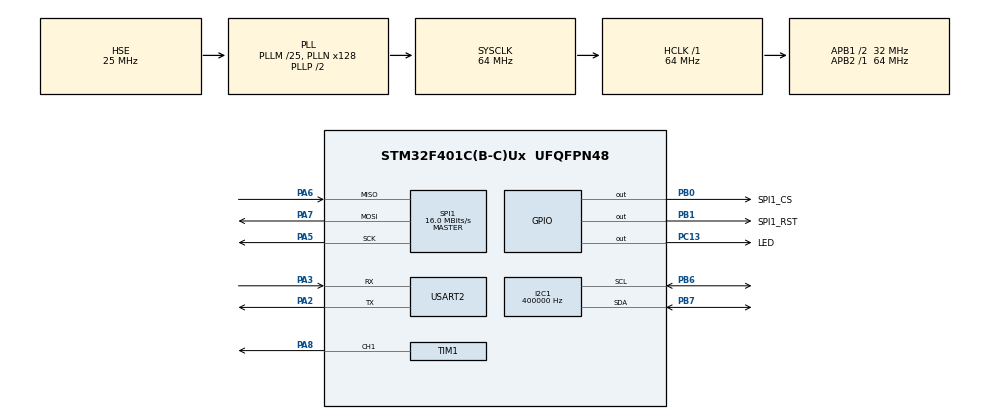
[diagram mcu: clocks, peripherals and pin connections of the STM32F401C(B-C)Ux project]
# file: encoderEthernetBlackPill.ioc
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Dma.Request0=TIM1_CH1
Dma.TIM1_CH1.0.Direction=DMA_MEMORY_TO_PERIPH
Dma.TIM1_CH1.0.FIFOMode=DMA_FIFOMODE_DISABLE
Dma.TIM1_CH1.0.Instance=DMA2_Stream1
Dma.TIM1_CH1.0.MemDataAlignment=DMA_MDATAALIGN_HALFWORD
Dma.TIM1_CH1.0.MemInc=DMA_MINC_ENABLE
Dma.TIM1_CH1.0.Mode=DMA_NORMAL
Dma.TIM1_CH1.0.PeriphDataAlignment=DMA_PDATAALIGN_HALFWORD
Dma.TIM1_CH1.0.PeriphInc=DMA_PINC_DISABLE
Dma.TIM1_CH1.0.Priority=DMA_PRIORITY_HIGH
I2C1.ClockSpeed=400000
I2C1.I2C_Mode=I2C_Fast
Mcu.Family=STM32F4
Mcu.Name=STM32F401C(B-C)Ux
Mcu.Package=UFQFPN48
NVIC.DMA2_Stream1_IRQn=true\:0\:0\:false\:false\:true\:false\:true
NVIC.PriorityGroup=NVIC_PRIORITYGROUP_4
NVIC.TIM1_UP_TIM10_IRQn=true\:0\:0\:false\:false\:true\:true\:true
NVIC.USART2_IRQn=true\:0\:0\:false\:false\:true\:true\:true
PA13.Mode=Serial_Wire
PA13.Signal=SYS_JTMS-SWDIO
PA14.Mode=Serial_Wire
PA14.Signal=SYS_JTCK-SWCLK
PA2.Mode=Asynchronous
PA2.Signal=USART2_TX
PA3.Mode=Asynchronous
PA3.Signal=USART2_RX
PA5.Mode=Full_Duplex_Master
PA5.Signal=SPI1_SCK
PA6.Mode=Full_Duplex_Master
PA6.Signal=SPI1_MISO
PA7.Mode=Full_Duplex_Master
PA7.Signal=SPI1_MOSI
PA8.Signal=S_TIM1_CH1
PB0.GPIO_Label=SPI1_CS
PB0.Signal=GPIO_Output
PB1.GPIO_Label=SPI1_RST
PB1.Signal=GPIO_Output
PB6.Mode=I2C
PB6.Signal=I2C1_SCL
PB7.Mode=I2C
PB7.Signal=I2C1_SDA
PC13-ANTI_TAMP.GPIO_Label=LED
PC13-ANTI_TAMP.Signal=GPIO_Output
PC14-OSC32_IN.Mode=LSE-External-Oscillator
PC14-OSC32_IN.Signal=RCC_OSC32_IN
PC15-OSC32_OUT.Mode=LSE-External-Oscillator
PC15-OSC32_OUT.Signal=RCC_OSC32_OUT
PH0\ -\ OSC_IN.Mode=HSE-External-Oscillator
PH0\ -\ OSC_IN.Signal=RCC_OSC_IN
PH1\ -\ OSC_OUT.Mode=HSE-External-Oscillator
PH1\ -\ OSC_OUT.Signal=RCC_OSC_OUT
ProjectManager.HeapSize=0x200
ProjectManager.StackSize=0x400
ProjectManager.TargetToolchain=STM32CubeIDE
RCC.48MHZClocksFreq_Value=32000000
RCC.AHBFreq_Value=64000000
RCC.APB1CLKDivider=RCC_HCLK_DIV2
RCC.APB1Freq_Value=32000000
RCC.APB1TimFreq_Value=64000000
RCC.APB2Freq_Value=64000000
RCC.APB2TimFreq_Value=64000000
RCC.CortexFreq_Value=64000000
RCC.HCLKFreq_Value=64000000
RCC.HSE_VALUE=25000000
RCC.HSI_VALUE=16000000
RCC.PLLM=25
RCC.PLLN=128
RCC.PLLSourceVirtual=RCC_PLLSOURCE_HSE
RCC.SYSCLKFreq_VALUE=64000000
RCC.SYSCLKSource=RCC_SYSCLKSOURCE_PLLCLK
RCC.VCOOutputFreq_Value=128000000
SH.S_TIM1_CH1.0=TIM1_CH1,PWM Generation1 CH1
SPI1.BaudRatePrescaler=SPI_BAUDRATEPRESCALER_4
SPI1.CalculateBaudRate=16.0 MBits/s
SPI1.Direction=SPI_DIRECTION_2LINES
SPI1.Mode=SPI_MODE_MASTER
SPI1.VirtualType=VM_MASTER
TIM1.Channel-PWM\ Generation1\ CH1=TIM_CHANNEL_1
TIM1.Period=89
TIM10.Period=100
TIM10.Prescaler=1000
USART2.VirtualMode=VM_ASYNC
VP_TIM10_VS_ClockSourceINT.Mode=Enable_Timer
board=custom

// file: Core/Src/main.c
/* USER CODE BEGIN Header */
/**
 ******************************************************************************
 * @file           : main.c
 * @brief          : Main program body
 ******************************************************************************
 * @attention
 *
 * <h2><center>&copy; Copyright (c) 2020 STMicroelectronics.
 * All rights reserved.</center></h2>
 *
 * This software component is licensed by ST under BSD 3-Clause license,
 * the "License"; You may not use this file except in compliance with the
 * License. You may obtain a copy of the License at:
 *                        opensource.org/licenses/BSD-3-Clause
 *
 ******************************************************************************
 */
/* USER CODE END Header */

#include "main.h"

/* USER CODE BEGIN Includes */
#include "socket.h"
#include <stdio.h>
#include <string.h>
#include "as5600.h"
#include "ws2812.h"
#include "math.h"

/* USER CODE END Includes */

/* USER CODE BEGIN PTD */

#define HTTP_SOCKET     0
#define PORT_TCPS		    5000
#define DATA_BUF_SIZE   2048

#define LED_DEGREE_INCREMENT 256   //   4096/ledCount

#define MAX_LED_VAL 250
#define FADE_INCREMENT 2

#define MAG_VAL_LEVEL 1000

#define VERBOSE 1
#define ETHERNET_ENABLE 1

/* USER CODE END PTD */

I2C_HandleTypeDef hi2c1;

SPI_HandleTypeDef hspi1;

TIM_HandleTypeDef htim1;
TIM_HandleTypeDef htim10;
DMA_HandleTypeDef hdma_tim1_ch1;

UART_HandleTypeDef huart2;

/* USER CODE BEGIN PV */
wiz_NetInfo gWIZNETINFO = { .mac = { 0x00, 0x08, 0xdc, 0xab, 0xcd, 0xef }, .ip =
		{ 10, 0, 0, 101 }, .sn = { 255, 0, 0, 0 }, .gw = { 10, 0, 0, 100 },
		.dns = { 0, 0, 0, 0 }, .dhcp = NETINFO_STATIC };

uint8_t gDATABUF[DATA_BUF_SIZE];

int count;

uint8_t stat;
uint8_t reqnr;
uint8_t SendEthernetReport;
uint8_t alarm = 0;
int longMag = 0;
int shortMag = 0;
int ang, prevAngPos, angPos;
int mag, prevMag;
char Message[128];
uint8_t buttonIsPressed = 0;
uint8_t targetLedVal[LED_COUNT];
uint8_t curentLedVal[LED_COUNT];

uint8_t ip_srv[4] = { 10, 0, 0, 100 };
uint8_t ethBuffer[50];
int ethPort = 7000;

//uint16_t ledAglePos[LED_COUNT];
uint8_t str[] = "epta \n";
/* USER CODE END PV */

void SystemClock_Config(void);
static void MX_GPIO_Init(void);
static void MX_DMA_Init(void);
static void MX_I2C1_Init(void);
static void MX_SPI1_Init(void);
static void MX_TIM1_Init(void);
static void MX_USART2_UART_Init(void);
static void MX_TIM10_Init(void);

/* USER CODE BEGIN 0 */
void W5500_Select(void) {
	HAL_GPIO_WritePin(SPI1_CS_GPIO_Port, SPI1_CS_Pin, GPIO_PIN_RESET);
}

void W5500_Unselect(void) {
	HAL_GPIO_WritePin(SPI1_CS_GPIO_Port, SPI1_CS_Pin, GPIO_PIN_SET);
}

void W5500_ReadBuff(uint8_t *buff, uint16_t len) {
	HAL_SPI_Receive(&hspi1, buff, len, HAL_MAX_DELAY);
}

void W5500_WriteBuff(uint8_t *buff, uint16_t len) {
	HAL_SPI_Transmit(&hspi1, buff, len, HAL_MAX_DELAY);
}

uint8_t W5500_ReadByte(void) {
	uint8_t byte;
	W5500_ReadBuff(&byte, sizeof(byte));
	return byte;
}

void W5500_WriteByte(uint8_t byte) {
	W5500_WriteBuff(&byte, sizeof(byte));
}

int _write(int fd, char *ptr, int len) {
	HAL_UART_Transmit(&huart2, (uint8_t*) ptr, len, 0xFFFF);

	return len;
}
/* USER CODE END 0 */

int main(void) {

	/* MCU Configuration--------------------------------------------------------*/

	/* Reset of all peripherals, Initializes the Flash interface and the Systick. */
	HAL_Init();

	/* Configure the system clock */
	SystemClock_Config();

	/* Initialize all configured peripherals */
	MX_GPIO_Init();
	MX_DMA_Init();
	MX_I2C1_Init();
	MX_SPI1_Init();
	MX_TIM1_Init();
	MX_USART2_UART_Init();
	MX_TIM10_Init();
	/* USER CODE BEGIN 2 */

	if (ETHERNET_ENABLE) {
		HAL_TIM_Base_Start_IT(&htim10);

		HAL_GPIO_WritePin(SPI1_RST_GPIO_Port, SPI1_RST_Pin, GPIO_PIN_RESET);
		HAL_Delay(1);
		HAL_GPIO_WritePin(SPI1_RST_GPIO_Port, SPI1_RST_Pin, GPIO_PIN_SET);
		HAL_Delay(1000);

		reg_wizchip_cs_cbfunc(W5500_Select, W5500_Unselect);
		reg_wizchip_spi_cbfunc(W5500_ReadByte, W5500_WriteByte);
		reg_wizchip_spiburst_cbfunc(W5500_ReadBuff, W5500_WriteBuff);

		uint8_t rx_tx_buff_sizes[] = { 2, 2, 2, 2, 2, 2, 2, 2 };

		wizchip_init(rx_tx_buff_sizes, rx_tx_buff_sizes);

		wizchip_setnetinfo(&gWIZNETINFO);

		ctlnetwork(CN_SET_NETINFO, (void*) &gWIZNETINFO);

		HAL_Delay(10);

		printf("Creating socket...\r\n");
		stat = socket(HTTP_SOCKET, Sn_MR_UDP, 7000, SF_IO_NONBLOCK);
		if (stat != HTTP_SOCKET) {
			printf("socket() failed, code = %d\r\n", stat);
		} else {
			printf("Socket created, connecting...\r\n");
		}

		printf("Test sending...\r\n");

		sprintf(ethBuffer, "button: %d angle: %d \n", buttonIsPressed, angPos);

		stat = sendto(HTTP_SOCKET, ethBuffer, strlen(ethBuffer), ip_srv,ethPort);
		if (stat != strlen(ethBuffer)) {
			alarm = 0;
			printf("sendto() failed, code = %d\r\n", stat);
			htim10.Init.Prescaler = 10000;
			htim10.Init.Period = 30000;
			HAL_TIM_Base_Init(&htim10);
		} else {
			printf("sendto complete ...\r\n");

			if(alarm==0){
				htim10.Init.Prescaler = 1000;
				htim10.Init.Period = 1000;
				HAL_TIM_Base_Init(&htim10);
				alarm = 1;
			}
		}
	}

	/* USER CODE END 2 */

	/* Infinite loop */
	/* USER CODE BEGIN WHILE */

	//------------------------------ws INIt----------------------------------------------------
	ws2812_init();
	for (int u = 0; u < LED_COUNT; u++) {
		ws2812_pixel_rgb_to_buf_dma(150, 150, 150, u);
	}
	ws2812_light();
	HAL_Delay(500);
	for (int u = 0; u < LED_COUNT; u++) {
		ws2812_pixel_rgb_to_buf_dma(0, 0, 0, u);
	}
	ws2812_light();
	//--------------LedRangeMassCalc--------------------

	int angRange = 380;
	uint8_t cosFront[angRange * 2];
	memset(cosFront, 0, sizeof(cosFront));
	float radKof = 6.28 / (angRange * 2);

	for (int i = 0; i < (angRange * 2); i++) {
		cosFront[i] = MAX_LED_VAL * ((cos(3.14 + (radKof * i)) / 2) + 0.5);
	}

	//WHILE___________________________________________________________________________________
	while (1) {
		/* USER CODE END WHILE */

		/* USER CODE BEGIN 3 */
		HAL_Delay(2);

		//---------------------------GetMagnetEncoderInfo---------------
		int magStat = AS5600_GetStatus();
		if (magStat == 0) {
			HAL_Delay(100);
		}
		ang = 4096 - AS5600_GetAngle();
		angPos = ang / LED_DEGREE_INCREMENT;

		float k = 0.1;
		mag = AS5600_GetMagnitude();
		longMag = (1 - k) * longMag + k * mag;

		//printf("deltaMag = %d, \r\n", deltaMag);

		if (longMag > MAG_VAL_LEVEL) {
			buttonIsPressed = 1;
		} else {
			buttonIsPressed = 0;
		}

		//-----------------------CalcLedFront---------------------------------

		if (buttonIsPressed == 0) {
			int fadeStartPoint = ang - angRange;
			memset(targetLedVal, 0, sizeof(targetLedVal));

			if (fadeStartPoint < 0)
				fadeStartPoint = 4096 + fadeStartPoint;
			for (int i = 0; i < (angRange * 2); i++) {

				int index = fadeStartPoint + i;
				if (index >= 4096)
					index = index - 4096;
				if ((index % LED_DEGREE_INCREMENT) == 0) {
					int pexelAdr = index / LED_DEGREE_INCREMENT;
					targetLedVal[pexelAdr] = cosFront[i];
				}
			}
		} else {
			for (int i = 0; i < LED_COUNT; i++) {
				targetLedVal[i] = MAX_LED_VAL;
			}
		}

		for (int i = 0; i < LED_COUNT; i++) {
			if (curentLedVal[i] < targetLedVal[i]) {
				int tmpVal = curentLedVal[i] + (10 * FADE_INCREMENT);
				if (tmpVal > targetLedVal[i]) {
					tmpVal = targetLedVal[i];
				}
				curentLedVal[i] = tmpVal;

			} else if (curentLedVal[i] > targetLedVal[i]) {
				int tmpVal = curentLedVal[i] - FADE_INCREMENT;
				if (tmpVal < 0) {
					tmpVal = 0;
				}
				curentLedVal[i] = tmpVal;
			}

			ws2812_pixel_rgb_to_buf_dma(curentLedVal[i], curentLedVal[i]*alarm, 0, i);
		}

		ws2812_light();

		//Networking___________________________________________________________________

		if (SendEthernetReport == 1) {
			SendEthernetReport = 0;

			sprintf(ethBuffer, "button: %d angle: %d \n", buttonIsPressed,angPos);

			stat = sendto(HTTP_SOCKET, ethBuffer, strlen(ethBuffer), ip_srv,ethPort);
			if (stat != strlen(ethBuffer)) {
				alarm = 0;
				printf("sendto() failed, code = %d\r\n", stat);
			} else {
				printf("sendto complete ...\r\n");
				alarm = 1;
				htim10.Init.Prescaler = 1000;
				htim10.Init.Period = 1000;
				HAL_TIM_Base_Init(&htim10);
			}
		}

	}
	/* USER CODE END 3 */
}

void SystemClock_Config(void) {
	RCC_OscInitTypeDef RCC_OscInitStruct = { 0 };
	RCC_ClkInitTypeDef RCC_ClkInitStruct = { 0 };

	/** Configure the main internal regulator output voltage
	 */
	__HAL_RCC_PWR_CLK_ENABLE();
	__HAL_PWR_VOLTAGESCALING_CONFIG(PWR_REGULATOR_VOLTAGE_SCALE2);
	/** Initializes the CPU, AHB and APB busses clocks
	 */
	RCC_OscInitStruct.OscillatorType = RCC_OSCILLATORTYPE_HSE;
	RCC_OscInitStruct.HSEState = RCC_HSE_ON;
	RCC_OscInitStruct.PLL.PLLState = RCC_PLL_ON;
	RCC_OscInitStruct.PLL.PLLSource = RCC_PLLSOURCE_HSE;
	RCC_OscInitStruct.PLL.PLLM = 25;
	RCC_OscInitStruct.PLL.PLLN = 128;
	RCC_OscInitStruct.PLL.PLLP = RCC_PLLP_DIV2;
	RCC_OscInitStruct.PLL.PLLQ = 4;
	if (HAL_RCC_OscConfig(&RCC_OscInitStruct) != HAL_OK) {
		Error_Handler();
	}
	/** Initializes the CPU, AHB and APB busses clocks
	 */
	RCC_ClkInitStruct.ClockType = RCC_CLOCKTYPE_HCLK | RCC_CLOCKTYPE_SYSCLK
			| RCC_CLOCKTYPE_PCLK1 | RCC_CLOCKTYPE_PCLK2;
	RCC_ClkInitStruct.SYSCLKSource = RCC_SYSCLKSOURCE_PLLCLK;
	RCC_ClkInitStruct.AHBCLKDivider = RCC_SYSCLK_DIV1;
	RCC_ClkInitStruct.APB1CLKDivider = RCC_HCLK_DIV2;
	RCC_ClkInitStruct.APB2CLKDivider = RCC_HCLK_DIV1;

	if (HAL_RCC_ClockConfig(&RCC_ClkInitStruct, FLASH_LATENCY_2) != HAL_OK) {
		Error_Handler();
	}
}

static void MX_I2C1_Init(void) {

	hi2c1.Instance = I2C1;
	hi2c1.Init.ClockSpeed = 400000;
	hi2c1.Init.DutyCycle = I2C_DUTYCYCLE_2;
	hi2c1.Init.OwnAddress1 = 0;
	hi2c1.Init.AddressingMode = I2C_ADDRESSINGMODE_7BIT;
	hi2c1.Init.DualAddressMode = I2C_DUALADDRESS_DISABLE;
	hi2c1.Init.OwnAddress2 = 0;
	hi2c1.Init.GeneralCallMode = I2C_GENERALCALL_DISABLE;
	hi2c1.Init.NoStretchMode = I2C_NOSTRETCH_DISABLE;
	if (HAL_I2C_Init(&hi2c1) != HAL_OK) {
		Error_Handler();
	}

}

static void MX_SPI1_Init(void) {

	/* SPI1 parameter configuration*/
	hspi1.Instance = SPI1;
	hspi1.Init.Mode = SPI_MODE_MASTER;
	hspi1.Init.Direction = SPI_DIRECTION_2LINES;
	hspi1.Init.DataSize = SPI_DATASIZE_8BIT;
	hspi1.Init.CLKPolarity = SPI_POLARITY_LOW;
	hspi1.Init.CLKPhase = SPI_PHASE_1EDGE;
	hspi1.Init.NSS = SPI_NSS_SOFT;
	hspi1.Init.BaudRatePrescaler = SPI_BAUDRATEPRESCALER_4;
	hspi1.Init.FirstBit = SPI_FIRSTBIT_MSB;
	hspi1.Init.TIMode = SPI_TIMODE_DISABLE;
	hspi1.Init.CRCCalculation = SPI_CRCCALCULATION_DISABLE;
	hspi1.Init.CRCPolynomial = 10;
	if (HAL_SPI_Init(&hspi1) != HAL_OK) {
		Error_Handler();
	}

}

static void MX_TIM1_Init(void) {

	TIM_MasterConfigTypeDef sMasterConfig = { 0 };
	TIM_OC_InitTypeDef sConfigOC = { 0 };
	TIM_BreakDeadTimeConfigTypeDef sBreakDeadTimeConfig = { 0 };

	htim1.Instance = TIM1;
	htim1.Init.Prescaler = 0;
	htim1.Init.CounterMode = TIM_COUNTERMODE_UP;
	htim1.Init.Period = 89;
	htim1.Init.ClockDivision = TIM_CLOCKDIVISION_DIV1;
	htim1.Init.RepetitionCounter = 0;
	htim1.Init.AutoReloadPreload = TIM_AUTORELOAD_PRELOAD_DISABLE;
	if (HAL_TIM_PWM_Init(&htim1) != HAL_OK) {
		Error_Handler();
	}
	sMasterConfig.MasterOutputTrigger = TIM_TRGO_RESET;
	sMasterConfig.MasterSlaveMode = TIM_MASTERSLAVEMODE_DISABLE;
	if (HAL_TIMEx_MasterConfigSynchronization(&htim1, &sMasterConfig)
			!= HAL_OK) {
		Error_Handler();
	}
	sConfigOC.OCMode = TIM_OCMODE_PWM1;
	sConfigOC.Pulse = 0;
	sConfigOC.OCPolarity = TIM_OCPOLARITY_HIGH;
	sConfigOC.OCNPolarity = TIM_OCNPOLARITY_HIGH;
	sConfigOC.OCFastMode = TIM_OCFAST_DISABLE;
	sConfigOC.OCIdleState = TIM_OCIDLESTATE_RESET;
	sConfigOC.OCNIdleState = TIM_OCNIDLESTATE_RESET;
	if (HAL_TIM_PWM_ConfigChannel(&htim1, &sConfigOC, TIM_CHANNEL_1)
			!= HAL_OK) {
		Error_Handler();
	}
	sBreakDeadTimeConfig.OffStateRunMode = TIM_OSSR_DISABLE;
	sBreakDeadTimeConfig.OffStateIDLEMode = TIM_OSSI_DISABLE;
	sBreakDeadTimeConfig.LockLevel = TIM_LOCKLEVEL_OFF;
	sBreakDeadTimeConfig.DeadTime = 0;
	sBreakDeadTimeConfig.BreakState = TIM_BREAK_DISABLE;
	sBreakDeadTimeConfig.BreakPolarity = TIM_BREAKPOLARITY_HIGH;
	sBreakDeadTimeConfig.AutomaticOutput = TIM_AUTOMATICOUTPUT_DISABLE;
	if (HAL_TIMEx_ConfigBreakDeadTime(&htim1, &sBreakDeadTimeConfig)
			!= HAL_OK) {
		Error_Handler();
	}
	HAL_TIM_MspPostInit(&htim1);

}

static void MX_TIM10_Init(void) {

	htim10.Instance = TIM10;
	htim10.Init.Prescaler = 1000;
	htim10.Init.CounterMode = TIM_COUNTERMODE_UP;
	htim10.Init.Period = 1000;
	htim10.Init.ClockDivision = TIM_CLOCKDIVISION_DIV1;
	htim10.Init.AutoReloadPreload = TIM_AUTORELOAD_PRELOAD_DISABLE;
	if (HAL_TIM_Base_Init(&htim10) != HAL_OK) {
		Error_Handler();
	}

}

static void MX_USART2_UART_Init(void) {

	huart2.Instance = USART2;
	huart2.Init.BaudRate = 115200;
	huart2.Init.WordLength = UART_WORDLENGTH_8B;
	huart2.Init.StopBits = UART_STOPBITS_1;
	huart2.Init.Parity = UART_PARITY_NONE;
	huart2.Init.Mode = UART_MODE_TX_RX;
	huart2.Init.HwFlowCtl = UART_HWCONTROL_NONE;
	huart2.Init.OverSampling = UART_OVERSAMPLING_16;
	if (HAL_UART_Init(&huart2) != HAL_OK) {
		Error_Handler();
	}

}

static void MX_DMA_Init(void) {

	/* DMA controller clock enable */
	__HAL_RCC_DMA2_CLK_ENABLE();

	/* DMA interrupt init */
	/* DMA2_Stream1_IRQn interrupt configuration */
	HAL_NVIC_SetPriority(DMA2_Stream1_IRQn, 0, 0);
	HAL_NVIC_EnableIRQ(DMA2_Stream1_IRQn);

}

static void MX_GPIO_Init(void) {
	GPIO_InitTypeDef GPIO_InitStruct = { 0 };

	/* GPIO Ports Clock Enable */
	__HAL_RCC_GPIOC_CLK_ENABLE();
	__HAL_RCC_GPIOH_CLK_ENABLE();
	__HAL_RCC_GPIOA_CLK_ENABLE();
	__HAL_RCC_GPIOB_CLK_ENABLE();

	/*Configure GPIO pin Output Level */
	HAL_GPIO_WritePin(LED_GPIO_Port, LED_Pin, GPIO_PIN_RESET);

	/*Configure GPIO pin Output Level */
	HAL_GPIO_WritePin(GPIOB, SPI1_CS_Pin | SPI1_RST_Pin, GPIO_PIN_RESET);

	/*Configure GPIO pin : LED_Pin */
	GPIO_InitStruct.Pin = LED_Pin;
	GPIO_InitStruct.Mode = GPIO_MODE_OUTPUT_PP;
	GPIO_InitStruct.Pull = GPIO_NOPULL;
	GPIO_InitStruct.Speed = GPIO_SPEED_FREQ_LOW;
	HAL_GPIO_Init(LED_GPIO_Port, &GPIO_InitStruct);

	/*Configure GPIO pins : SPI1_CS_Pin SPI1_RST_Pin */
	GPIO_InitStruct.Pin = SPI1_CS_Pin | SPI1_RST_Pin;
	GPIO_InitStruct.Mode = GPIO_MODE_OUTPUT_PP;
	GPIO_InitStruct.Pull = GPIO_NOPULL;
	GPIO_InitStruct.Speed = GPIO_SPEED_FREQ_LOW;
	HAL_GPIO_Init(GPIOB, &GPIO_InitStruct);

}

void Error_Handler(void) {
}

/************************ (C) COPYRIGHT STMicroelectronics *****END OF FILE****/
